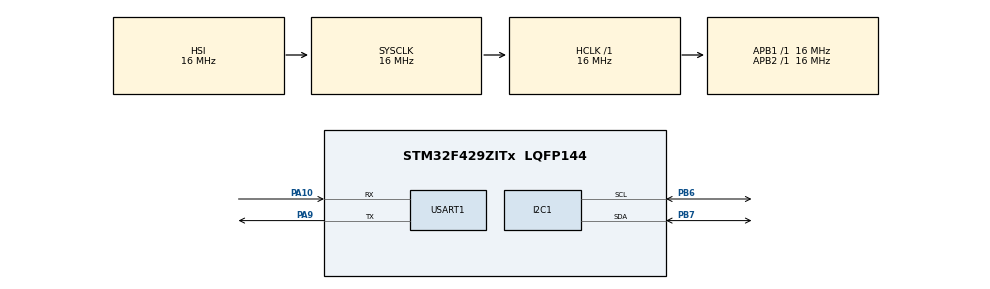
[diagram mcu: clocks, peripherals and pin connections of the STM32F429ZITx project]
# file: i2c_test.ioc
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Mcu.Family=STM32F4
Mcu.Name=STM32F429ZITx
Mcu.Package=LQFP144
NVIC.PriorityGroup=NVIC_PRIORITYGROUP_4
PA10.Mode=Asynchronous
PA10.Signal=USART1_RX
PA9.Mode=Asynchronous
PA9.Signal=USART1_TX
PB6.Mode=I2C
PB6.Signal=I2C1_SCL
PB7.Mode=I2C
PB7.Signal=I2C1_SDA
ProjectManager.HeapSize=0x200
ProjectManager.StackSize=0x400
ProjectManager.TargetToolchain=MDK-ARM V5
RCC.AHBFreq_Value=16000000
RCC.APB1Freq_Value=16000000
RCC.APB2Freq_Value=16000000
RCC.CortexFreq_Value=16000000
RCC.HSE_VALUE=25000000
RCC.HSI_VALUE=16000000
RCC.LSE_VALUE=32768
RCC.SYSCLKFreq_VALUE=16000000
RCC.VCOOutputFreq_Value=192000000
USART1.VirtualMode=VM_ASYNC
board=custom

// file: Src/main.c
/* USER CODE BEGIN Header */
/**
  ******************************************************************************
  * @file           : main.c
  * @brief          : Main program body
  ******************************************************************************
  * @attention
  *
  * <h2><center>&copy; Copyright (c) 2020 STMicroelectronics.
  * All rights reserved.</center></h2>
  *
  * This software component is licensed by ST under BSD 3-Clause license,
  * the "License"; You may not use this file except in compliance with the
  * License. You may obtain a copy of the License at:
  *                        opensource.org/licenses/BSD-3-Clause
  *
  ******************************************************************************
  */
/* USER CODE END Header */

#include "main.h"

/* USER CODE BEGIN Includes */
#include "string.h"
#include "stdio.h"
/* USER CODE END Includes */

/* USER CODE BEGIN PD */
#define devAddress  0x90
/* USER CODE END PD */

I2C_HandleTypeDef hi2c1;

UART_HandleTypeDef huart1;

void SystemClock_Config(void);
static void MX_GPIO_Init(void);
static void MX_I2C1_Init(void);
static void MX_USART1_UART_Init(void);

/* USER CODE BEGIN 0 */
uint8_t i2cBuf[10];
uint8_t reg_val = 0x02;
/* USER CODE END 0 */

int main(void)
{
  /* USER CODE BEGIN 1 */
HAL_StatusTypeDef ret;
	int16_t value;
  /* USER CODE END 1 */

  /* MCU Configuration--------------------------------------------------------*/

  /* Reset of all peripherals, Initializes the Flash interface and the Systick. */
  HAL_Init();

  /* Configure the system clock */
  SystemClock_Config();

  /* Initialize all configured peripherals */
  MX_GPIO_Init();
  MX_I2C1_Init();
  MX_USART1_UART_Init();
  /* USER CODE BEGIN 2 */
//	for (int i=0; i<255;i++)
//	{
 // HAL_I2C_IsDeviceReady(&hi2c1, i, 1, 10);
	//}
  /* USER CODE END 2 */

  /* Infinite loop */
  while (1)
  {

    /* USER CODE BEGIN 3 */
		i2cBuf[0] = reg_val;
		ret = HAL_I2C_Master_Transmit(&hi2c1, devAddress, i2cBuf, 1, HAL_MAX_DELAY);
		if(ret != HAL_OK)
		{
			strcpy((char *)i2cBuf, "Error\r\n");
		} else {
				ret = HAL_I2C_Master_Receive(&hi2c1, devAddress, i2cBuf, 4, HAL_MAX_DELAY);
				if(ret != HAL_OK)
		{
			strcpy((char *)i2cBuf, "Error\r\n");
		} else {
		//	value = ((int16_t)i2cBuf[0] <<4) | (i2cBuf[1]>>4);
			value = (int16_t) i2cBuf[0];
	//		value = ((int16_t)i2cBuf[2] <<4) | (i2cBuf[3]>>4);
			sprintf((char *)i2cBuf, "Voltage  = %u\r\n", value);
		}
	}

		HAL_UART_Transmit(&huart1, i2cBuf, strlen((char *)i2cBuf), HAL_MAX_DELAY);
		HAL_Delay(1000);
  }
  /* USER CODE END 3 */
}

void SystemClock_Config(void)
{
  RCC_OscInitTypeDef RCC_OscInitStruct = {0};
  RCC_ClkInitTypeDef RCC_ClkInitStruct = {0};

  /** Configure the main internal regulator output voltage
  */
  __HAL_RCC_PWR_CLK_ENABLE();
  __HAL_PWR_VOLTAGESCALING_CONFIG(PWR_REGULATOR_VOLTAGE_SCALE3);
  /** Initializes the CPU, AHB and APB busses clocks
  */
  RCC_OscInitStruct.OscillatorType = RCC_OSCILLATORTYPE_HSI;
  RCC_OscInitStruct.HSIState = RCC_HSI_ON;
  RCC_OscInitStruct.HSICalibrationValue = RCC_HSICALIBRATION_DEFAULT;
  RCC_OscInitStruct.PLL.PLLState = RCC_PLL_NONE;
  if (HAL_RCC_OscConfig(&RCC_OscInitStruct) != HAL_OK)
  {
    Error_Handler();
  }
  /** Initializes the CPU, AHB and APB busses clocks
  */
  RCC_ClkInitStruct.ClockType = RCC_CLOCKTYPE_HCLK|RCC_CLOCKTYPE_SYSCLK
                              |RCC_CLOCKTYPE_PCLK1|RCC_CLOCKTYPE_PCLK2;
  RCC_ClkInitStruct.SYSCLKSource = RCC_SYSCLKSOURCE_HSI;
  RCC_ClkInitStruct.AHBCLKDivider = RCC_SYSCLK_DIV1;
  RCC_ClkInitStruct.APB1CLKDivider = RCC_HCLK_DIV1;
  RCC_ClkInitStruct.APB2CLKDivider = RCC_HCLK_DIV1;

  if (HAL_RCC_ClockConfig(&RCC_ClkInitStruct, FLASH_LATENCY_0) != HAL_OK)
  {
    Error_Handler();
  }
}

static void MX_I2C1_Init(void)
{

  hi2c1.Instance = I2C1;
  hi2c1.Init.ClockSpeed = 100000;
  hi2c1.Init.DutyCycle = I2C_DUTYCYCLE_2;
  hi2c1.Init.OwnAddress1 = 0;
  hi2c1.Init.AddressingMode = I2C_ADDRESSINGMODE_7BIT;
  hi2c1.Init.DualAddressMode = I2C_DUALADDRESS_DISABLE;
  hi2c1.Init.OwnAddress2 = 0;
  hi2c1.Init.GeneralCallMode = I2C_GENERALCALL_DISABLE;
  hi2c1.Init.NoStretchMode = I2C_NOSTRETCH_DISABLE;
  if (HAL_I2C_Init(&hi2c1) != HAL_OK)
  {
    Error_Handler();
  }
  /** Configure Analogue filter
  */
  if (HAL_I2CEx_ConfigAnalogFilter(&hi2c1, I2C_ANALOGFILTER_ENABLE) != HAL_OK)
  {
    Error_Handler();
  }
  /** Configure Digital filter
  */
  if (HAL_I2CEx_ConfigDigitalFilter(&hi2c1, 0) != HAL_OK)
  {
    Error_Handler();
  }

}

static void MX_USART1_UART_Init(void)
{

  huart1.Instance = USART1;
  huart1.Init.BaudRate = 115200;
  huart1.Init.WordLength = UART_WORDLENGTH_8B;
  huart1.Init.StopBits = UART_STOPBITS_1;
  huart1.Init.Parity = UART_PARITY_NONE;
  huart1.Init.Mode = UART_MODE_TX_RX;
  huart1.Init.HwFlowCtl = UART_HWCONTROL_NONE;
  huart1.Init.OverSampling = UART_OVERSAMPLING_16;
  if (HAL_UART_Init(&huart1) != HAL_OK)
  {
    Error_Handler();
  }

}

static void MX_GPIO_Init(void)
{

  /* GPIO Ports Clock Enable */
  __HAL_RCC_GPIOA_CLK_ENABLE();
  __HAL_RCC_GPIOB_CLK_ENABLE();

}

void Error_Handler(void)
{
}

/************************ (C) COPYRIGHT STMicroelectronics *****END OF FILE****/
